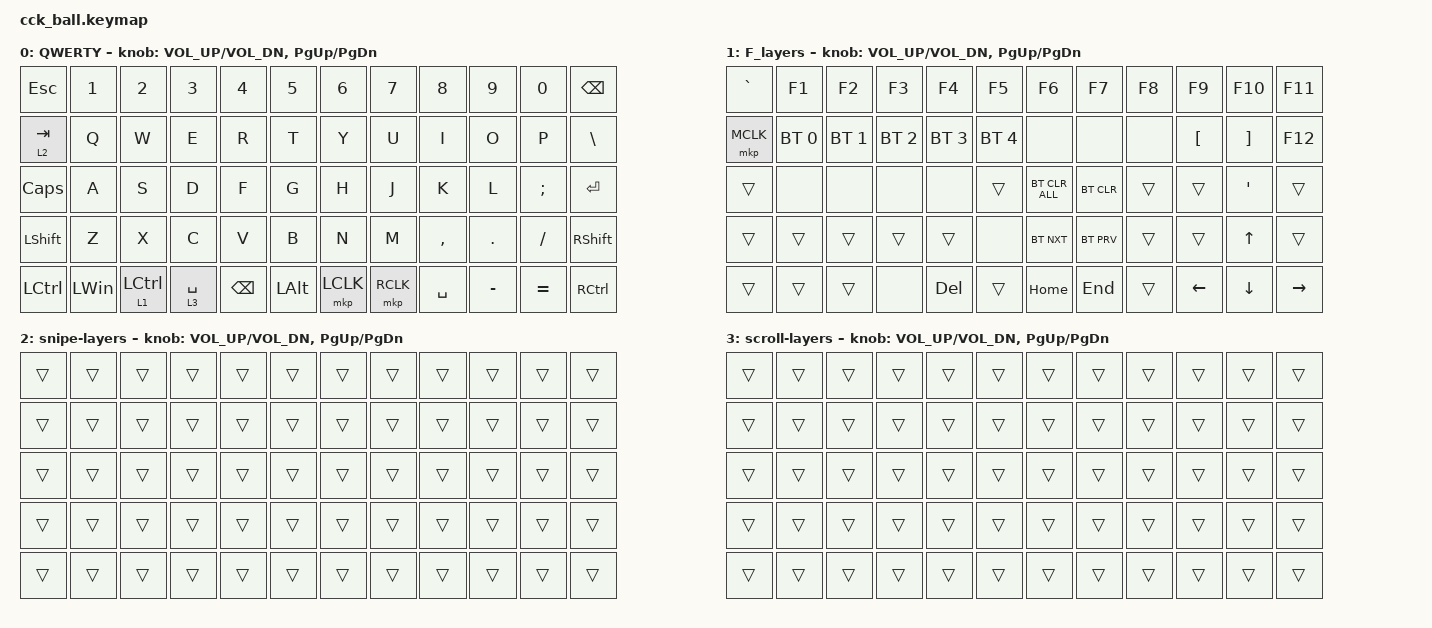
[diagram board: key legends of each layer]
#define ZMK_POINTING_DEFAULT_MOVE_VAL 1200  // 600
#define ZMK_POINTING_DEFAULT_SCRL_VAL 25   // 10

#include <input/processors.dtsi>
#include <zephyr/dt-bindings/input/input-event-codes.h>
#include <behaviors.dtsi>
#include <dt-bindings/zmk/bt.h>
#include <dt-bindings/zmk/keys.h>
#include <dt-bindings/zmk/pointing.h>

&mmv_input_listener { input-processors = <&zip_xy_scaler 2 1>; };

&msc_input_listener { input-processors = <&zip_scroll_scaler 2 1>; };

&msc {
    acceleration-exponent = <0>;      // 0
    time-to-max-speed-ms = <300>;       // 300
    delay-ms = <0>;                   // 0
};

&mmv {
    time-to-max-speed-ms = <500>;
    acceleration-exponent = <1>;
    trigger-period-ms = <16>;
};

&soft_off { hold-time-ms = <2000>; };

/ {
    scroll_encoder: scroll_encoder {
        compatible = "zmk,behavior-sensor-rotate";
        #sensor-binding-cells = <0>;
        bindings = <&msc SCRL_DOWN>, <&msc SCRL_UP>;

        tap-ms = <100>;
    };

    behaviors {
    };

    keymap {
        compatible = "zmk,keymap";

        QWERTY {
            bindings = <
&kp ESC           &kp N1        &kp N2       &kp N3       &kp N4         &kp N5        &kp N6     &kp N7     &kp N8     &kp N9     &kp N0     &kp BACKSPACE
&lt 2 TAB         &kp Q         &kp W        &kp E        &kp R          &kp T         &kp Y      &kp U      &kp I      &kp O      &kp P      &kp BSLH
&kp CAPS          &kp A         &kp S        &kp D        &kp F          &kp G         &kp H      &kp J      &kp K      &kp L      &kp SEMI   &kp ENTER
&kp LEFT_SHIFT    &kp Z         &kp X        &kp C        &kp V          &kp B         &kp N      &kp M      &kp COMMA  &kp DOT    &kp SLASH  &kp RIGHT_SHIFT
&kp LEFT_CONTROL  &kp LEFT_WIN  &lt 1 LCTRL  &lt 3 SPACE  &kp BACKSPACE  &kp LEFT_ALT  &mkp LCLK  &mkp RCLK  &kp SPACE  &kp MINUS  &kp EQUAL  &kp RCTRL
            >;

            sensor-bindings = <&inc_dec_kp C_VOL_UP C_VOL_DN &inc_dec_kp PG_UP PG_DN>;
        };

        F_layers {
            bindings = <
&kp GRAVE  &kp F1        &kp F2        &kp F3        &kp F4        &kp F5        &kp F6          &kp F7      &kp F8  &kp F9            &kp F10            &kp F11
&mkp MCLK  &bt BT_SEL 0  &bt BT_SEL 1  &bt BT_SEL 2  &bt BT_SEL 3  &bt BT_SEL 4  &none           &none       &none   &kp LEFT_BRACKET  &kp RIGHT_BRACKET  &kp F12
&trans     &none         &none         &none         &none         &trans        &bt BT_CLR_ALL  &bt BT_CLR  &trans  &trans            &kp SQT            &trans
&trans     &trans        &trans        &trans        &trans        &none         &bt BT_NXT      &bt BT_PRV  &trans  &trans            &kp UP_ARROW       &trans
&trans     &trans        &trans        &none         &kp DEL       &trans        &kp HOME        &kp END     &trans  &kp LEFT_ARROW    &kp DOWN_ARROW     &kp RIGHT_ARROW
            >;

            sensor-bindings = <&inc_dec_kp C_VOL_UP C_VOL_DN &inc_dec_kp PG_UP PG_DN>;
        };

        snipe-layers {
            bindings = <
&trans  &trans  &trans  &trans  &trans  &trans  &trans  &trans  &trans  &trans  &trans  &trans
&trans  &trans  &trans  &trans  &trans  &trans  &trans  &trans  &trans  &trans  &trans  &trans
&trans  &trans  &trans  &trans  &trans  &trans  &trans  &trans  &trans  &trans  &trans  &trans
&trans  &trans  &trans  &trans  &trans  &trans  &trans  &trans  &trans  &trans  &trans  &trans
&trans  &trans  &trans  &trans  &trans  &trans  &trans  &trans  &trans  &trans  &trans  &trans
            >;

            sensor-bindings = <&inc_dec_kp C_VOL_UP C_VOL_DN &inc_dec_kp PG_UP PG_DN>;
        };

        scroll-layers {
            bindings = <
&trans  &trans  &trans  &trans  &trans  &trans  &trans  &trans  &trans  &trans  &trans  &trans
&trans  &trans  &trans  &trans  &trans  &trans  &trans  &trans  &trans  &trans  &trans  &trans
&trans  &trans  &trans  &trans  &trans  &trans  &trans  &trans  &trans  &trans  &trans  &trans
&trans  &trans  &trans  &trans  &trans  &trans  &trans  &trans  &trans  &trans  &trans  &trans
&trans  &trans  &trans  &trans  &trans  &trans  &trans  &trans  &trans  &trans  &trans  &trans
            >;

            sensor-bindings = <&inc_dec_kp C_VOL_UP C_VOL_DN &inc_dec_kp PG_UP PG_DN>;
        };
    };
};
